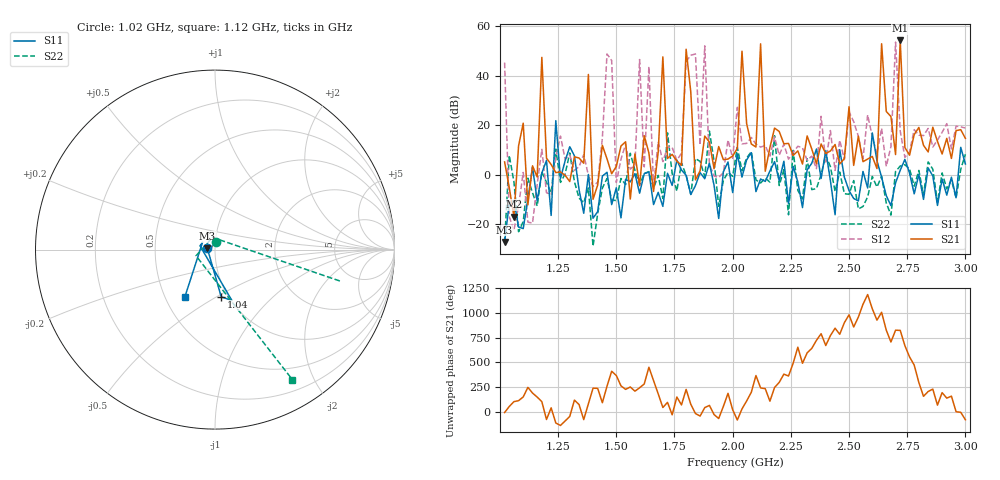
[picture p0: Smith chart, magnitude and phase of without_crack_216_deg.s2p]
# MHz S MA R 50
!  freq  S11  S21  S12  S22
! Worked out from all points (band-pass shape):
!   100 points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, 1.02 GHz to 3 GHz, reference 50 ohm
!   highest |S21| = 54.34 dB at 2.72 GHz (marker M1); lowest = -17.0 dB at 1.06 GHz (marker M2)
!   |S21| within 3 dB of the highest: 2.119227 GHz to 2.120626 GHz (1.399 MHz wide, 0.066 % of centre); 2.63934 GHz to 2.641217 GHz (1.877 MHz wide, 0.0711 % of centre) (the widest 2 of 3)
!   lowest |S11| = -27.3 dB at 1.02 GHz (marker M3), VSWR 1.09, Z = 45.9 + j0.596 ohm
!   |S11| at or under -10 dB: start of sweep to 1.12 GHz; 1.159044 GHz to 1.161158 GHz (2.114 MHz wide, 0.182 % of centre); 1.391 GHz to 1.427 GHz (35.66 MHz wide, 2.53 % of centre) (the widest 3 of 17)
!   |S22| runs from -29.0 to 17.7 dB; largest |S21 - S12| = 5.2e+02
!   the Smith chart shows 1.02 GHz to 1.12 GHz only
!   S11 on the Smith chart (normalised r, x): 1.02 GHz: 0.92, +0.01; 1.04 GHz: 0.93, -0.53; 1.12 GHz: 0.63, -0.37
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1020  0.043 171.3  1.801 -4.1  185.5 87.4  0.04162 86.0
1040  0.2654 -82.5  0.5437 56.3  0.1403 39.4  2.449 -72.8
1060  0.2989 -71.6  0.1412 105.3  0.07387 -51.7  0.7175 -14.1
1120  0.3137 -122.4  0.2434 -111.1  0.1087 -47.6  0.8441 -59.2
1360  0.1646 -108.9  1.694 -75.6  2.54 54.3  0.2698 -109.2
1680  0.4365 57.3  2.844 -176.1  4.645 -121.3  0.9644 87.6
1800  0.9652 68.9  345.4 -131.5  195.4 115.6  0.9645 69.3
1820  0.3938 66.7  47.1 79.2  260.7 -17.8  0.3972 67.3
1880  0.8218 -103.7  6.019 45.1  404.2 -81.2  0.9097 -96.4
1900  1.688 177.9  4.559 67.4  1.624 113.5  7.638 -63.8
2020  2.633 -96.5  3.387 -79.8  23.01 -90.4  3.544 -110.8
2100  0.4508 47.5  3.615 8.4  4.142 -115.8  0.7777 80.0
2120  0.8123 -66.0  444.3 -116.4  3.611 -38.1  0.6738 -75.6
2140  0.7258 -88.6  1.167 -124.0  3.865 46.3  0.8478 -61.0
2340  1.698 127.4  3.278 -77.5  2.358 68.0  0.4939 174.9
2620  1.908 -67.7  1.322 -153.4  2.585 173.3  0.5596 -174.9
2640  0.8842 31.6  447.1 -74.2  8.693 48.8  0.9191 41.2
2680  0.235 5.0  14.99 -13.7  3.675 174.7  0.1506 7.4
2700  0.6801 115.4  2.541 105.3  482.4 27.8  1.156 85.2
2720  1.225 61.2  521.2 103.4  7.603 47.3  1.487 52.8
2740  2.031 23.0  3.531 -50.3  2.235 -107.2  1.586 117.5
3000  1.64 -94.0  5.416 -77.2  8.739 81.2  2.582 -80.3
